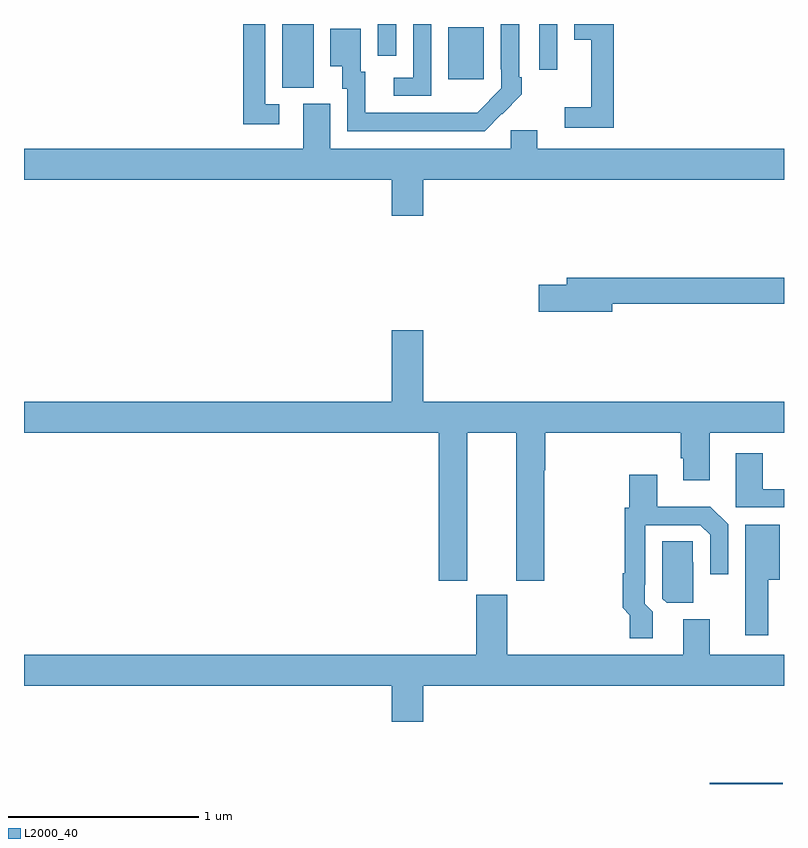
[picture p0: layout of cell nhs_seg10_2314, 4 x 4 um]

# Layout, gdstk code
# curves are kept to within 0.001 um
import gdstk
lib = gdstk.Library(unit=1e-6, precision=1e-09)
def R(c, l, rs):  # rectangles x0, y0, x1, y1
    for r in rs: c.add(gdstk.rectangle(r[:2], r[2:], *l))
def P(c, l, *ps):  # polygons
    for p in ps: c.add(gdstk.Polygon(p, *l))
L2000_40 = (2000, 40)

nhs_seg10_2314 = lib.new_cell('nhs_seg10_2314')
R(nhs_seg10_2314, L2000_40, [(238.608,1266.5,238.993,1266.506), (236.36,1270.165,236.524,1270.5), (237.233,1270.209,237.421,1270.483), (237.711,1270.26,237.807,1270.5), (236.862,1270.332,236.958,1270.5)])
P(nhs_seg10_2314, L2000_40, [(237.515,1270.027),(237.516,1270.026),(237.621,1270.131),(237.621,1270.219),(237.606,1270.219),(237.606,1270.5),(237.51,1270.5),(237.51,1270.261),(237.513,1270.261),(237.513,1270.161),(237.385,1270.033),(236.797,1270.032),(236.797,1270.248),(236.773,1270.248),(236.773,1270.474),(236.612,1270.474),(236.612,1270.277),(236.675,1270.277),(236.675,1270.158),(236.7,1270.158),(236.7,1269.936),(237.424,1269.936)],
  [(237.144,1270.5),(237.048,1270.5),(237.048,1270.218),(236.946,1270.218),(236.946,1270.122),(237.144,1270.122)],
  [(238.103,1270.5),(237.896,1270.5),(237.896,1270.418),(237.986,1270.418),(237.986,1270.063),(237.846,1270.063),(237.846,1269.954),(238.103,1269.954)],
  [(236.344,1270.077),(236.271,1270.077),(236.271,1270.5),(236.155,1270.5),(236.155,1269.972),(236.344,1269.972)],
  [(237.1,1269.68),(239,1269.68),(239,1269.844),(237.7,1269.844),(237.7,1269.942),(237.561,1269.942),(237.561,1269.844),(236.611,1269.844),(236.611,1270.08),(236.471,1270.08),(236.471,1269.844),(235,1269.844),(235,1269.68),(236.936,1269.68),(236.936,1269.492),(237.1,1269.492)],
  [(238.096,1269.028),(239,1269.028),(239,1269.164),(237.857,1269.164),(237.857,1269.128),(237.708,1269.128),(237.708,1268.986),(238.096,1268.986)],
  [(237.334,1268.348),(237.59,1268.348),(237.59,1267.569),(237.738,1267.569),(237.738,1268.152),(237.743,1268.152),(237.743,1268.348),(238.457,1268.348),(238.457,1268.215),(238.469,1268.215),(238.469,1268.1),(238.609,1268.1),(238.609,1268.348),(239,1268.348),(239,1268.512),(237.1,1268.512),(237.1,1268.887),(236.936,1268.887),(236.936,1268.512),(235,1268.512),(235,1268.348),(237.182,1268.348),(237.182,1267.569),(237.334,1267.569)],
  [(239,1268.052),(238.888,1268.052),(238.888,1268.242),(238.745,1268.242),(238.745,1267.956),(239,1267.956)],
  [(238.309,1267.406),(238.266,1267.449),(238.266,1267.549),(238.269,1267.549),(238.269,1267.863),(238.56,1267.863),(238.611,1267.812),(238.611,1267.605),(238.707,1267.605),(238.707,1267.866),(238.613,1267.96),(238.333,1267.96),(238.333,1268.128),(238.186,1268.128),(238.186,1267.953),(238.161,1267.953),(238.161,1267.61),(238.151,1267.61),(238.151,1267.428),(238.189,1267.389),(238.189,1267.266),(238.309,1267.266)],
  [(238.918,1267.574),(238.978,1267.574),(238.978,1267.864),(238.796,1267.864),(238.796,1267.284),(238.918,1267.284)],
  [(238.522,1267.667),(238.521,1267.667),(238.521,1267.778),(238.359,1267.778),(238.359,1267.476),(238.383,1267.453),(238.522,1267.453)],
  [(237.1,1267.016),(239,1267.016),(239,1267.18),(238.609,1267.18),(238.609,1267.368),(238.469,1267.368),(238.469,1267.18),(237.544,1267.18),(237.544,1267.497),(237.38,1267.497),(237.38,1267.18),(235,1267.18),(235,1267.016),(236.936,1267.016),(236.936,1266.828),(237.1,1266.828)])

lib.write_gds('nhs_seg10_2314.gds')
